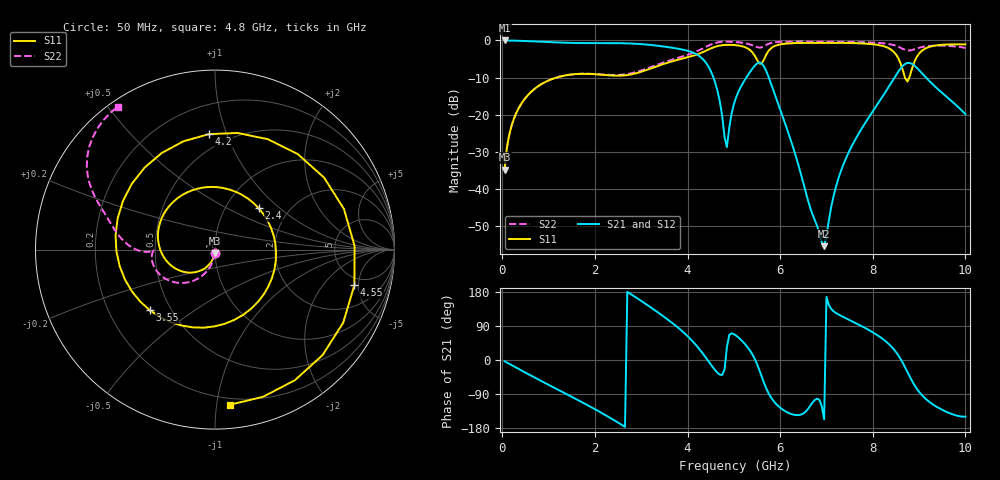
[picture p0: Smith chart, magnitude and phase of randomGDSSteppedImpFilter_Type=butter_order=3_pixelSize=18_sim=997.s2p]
! freq	dB(S11)	phase(S11)	dB(S12)	phase(S12)
!  dB(S21)	phase(S21)	dB(S22)	phase(S22)
!S-par simulation data
#  GHz  S  DB  R 50
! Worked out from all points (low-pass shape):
!   200 points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, 50 MHz to 10 GHz, reference 50 ohm
!   highest |S21| = -0.01 dB at 50 MHz (marker M1); lowest = -55.5 dB at 6.95 GHz (marker M2)
!   |S21| within 3 dB of the highest: start of sweep to 4.057 GHz
!   lowest |S11| = -34.8 dB at 50 MHz (marker M3), VSWR 1.04, Z = 49.8 - j1.8 ohm
!   |S11| at or under -10 dB: start of sweep to 1.174 GHz; 8.695 GHz to 8.787 GHz (92.36 MHz wide, 1.06 % of centre)
!   |S22| runs from -34.8 to -0.3 dB; largest |S21 - S12| = 0
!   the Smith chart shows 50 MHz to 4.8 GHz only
!   S11 on the Smith chart (normalised r, x): 50 MHz: 1.00, -0.04; 2.4 GHz: 1.42, +0.74; 3.55 GHz: 0.38, -0.34; 4.2 GHz: 0.39, +0.87; 4.55 GHz: 4.02, -4.44; 4.8 GHz: 0.15, -1.09
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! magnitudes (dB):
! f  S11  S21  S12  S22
! 50 MHz  -34.8  0.0  0.0  -34.8
! 200 MHz  -23.0  0.0  0.0  -23.0
! 500 MHz  -15.5  -0.2  -0.2  -15.5
! 1.75 GHz  -9.0  -0.7  -0.7  -9.0
! 2.4 GHz  -9.5  -0.7  -0.7  -9.3
! 3.4 GHz  -6.7  -1.5  -1.5  -6.3
! 3.55 GHz  -6.1  -1.7  -1.7  -5.7
! 4.2 GHz  -3.8  -3.8  -3.8  -2.9
! 4.55 GHz  -1.9  -9.7  -9.7  -0.9
! 4.8 GHz  -1.2  -26.1  -26.1  -0.3
! 4.85 GHz  -1.2  -28.8  -28.8  -0.3
! 5.05 GHz  -1.3  -15.3  -15.3  -0.4
! 5.45 GHz  -4.1  -6.8  -6.8  -1.5
! 5.65 GHz  -5.1  -7.0  -7.0  -1.6
! 6.7 GHz  -0.6  -47.0  -47.0  -0.3
! 6.95 GHz  -0.6  -55.5  -55.5  -0.3
! 7.15 GHz  -0.6  -42.2  -42.2  -0.4
! 7.4 GHz  -0.7  -32.4  -32.4  -0.4
! 8.35 GHz  -2.1  -12.4  -12.4  -1.0
! 8.75 GHz  -11.1  -6.1  -6.1  -2.7
! 9.1 GHz  -2.4  -9.4  -9.4  -1.7
! 10 GHz  -1.1  -19.9  -19.9  -2.0
